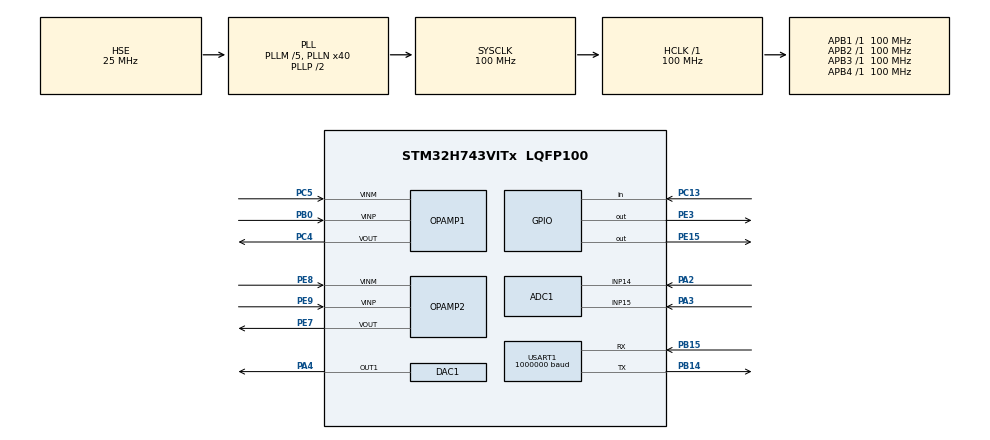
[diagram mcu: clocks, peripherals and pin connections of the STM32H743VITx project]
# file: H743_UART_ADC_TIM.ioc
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ADC1.Channel-7\#ChannelRegularConversion=ADC_CHANNEL_14
ADC1.Channel-8\#ChannelRegularConversion=ADC_CHANNEL_15
ADC1.ContinuousConvMode=DISABLE
ADC1.ConversionDataManagement=ADC_CONVERSIONDATA_DMA_CIRCULAR
ADC1.ExternalTrigConv=ADC_EXTERNALTRIG_T6_TRGO
ADC1.NbrOfConversion=2
ADC1.NbrOfConversionFlag=1
ADC1.OffsetNumber-7\#ChannelRegularConversion=ADC_OFFSET_NONE
ADC1.OffsetNumber-8\#ChannelRegularConversion=ADC_OFFSET_NONE
ADC1.OffsetSignedSaturation-7\#ChannelRegularConversion=DISABLE
ADC1.OffsetSignedSaturation-8\#ChannelRegularConversion=DISABLE
ADC1.Rank-7\#ChannelRegularConversion=1
ADC1.Rank-8\#ChannelRegularConversion=2
ADC1.SamplingTime-7\#ChannelRegularConversion=ADC_SAMPLETIME_1CYCLE_5
ADC1.SamplingTime-8\#ChannelRegularConversion=ADC_SAMPLETIME_1CYCLE_5
ADC1.master=1
DAC1.DAC_Channel-DAC_OUT1=DAC_CHANNEL_1
DAC1.DAC_Trigger-DAC_OUT1=DAC_TRIGGER_T7_TRGO
Dma.ADC1.0.Direction=DMA_PERIPH_TO_MEMORY
Dma.ADC1.0.EventEnable=DISABLE
Dma.ADC1.0.FIFOMode=DMA_FIFOMODE_ENABLE
Dma.ADC1.0.FIFOThreshold=DMA_FIFO_THRESHOLD_HALFFULL
Dma.ADC1.0.Instance=DMA1_Stream0
Dma.ADC1.0.MemBurst=DMA_MBURST_SINGLE
Dma.ADC1.0.MemDataAlignment=DMA_MDATAALIGN_HALFWORD
Dma.ADC1.0.MemInc=DMA_MINC_ENABLE
Dma.ADC1.0.Mode=DMA_CIRCULAR
Dma.ADC1.0.PeriphBurst=DMA_PBURST_SINGLE
Dma.ADC1.0.PeriphDataAlignment=DMA_PDATAALIGN_HALFWORD
Dma.ADC1.0.PeriphInc=DMA_PINC_DISABLE
Dma.ADC1.0.Polarity=HAL_DMAMUX_REQ_GEN_RISING
Dma.ADC1.0.Priority=DMA_PRIORITY_MEDIUM
Dma.ADC1.0.RequestNumber=1
Dma.ADC1.0.SignalID=NONE
Dma.ADC1.0.SyncEnable=DISABLE
Dma.ADC1.0.SyncPolarity=HAL_DMAMUX_SYNC_NO_EVENT
Dma.ADC1.0.SyncRequestNumber=1
Dma.ADC1.0.SyncSignalID=NONE
Dma.DAC1_CH1.1.Direction=DMA_MEMORY_TO_PERIPH
Dma.DAC1_CH1.1.EventEnable=DISABLE
Dma.DAC1_CH1.1.FIFOMode=DMA_FIFOMODE_DISABLE
Dma.DAC1_CH1.1.Instance=DMA1_Stream1
Dma.DAC1_CH1.1.MemDataAlignment=DMA_MDATAALIGN_HALFWORD
Dma.DAC1_CH1.1.MemInc=DMA_MINC_ENABLE
Dma.DAC1_CH1.1.Mode=DMA_CIRCULAR
Dma.DAC1_CH1.1.PeriphDataAlignment=DMA_PDATAALIGN_HALFWORD
Dma.DAC1_CH1.1.PeriphInc=DMA_PINC_DISABLE
Dma.DAC1_CH1.1.Polarity=HAL_DMAMUX_REQ_GEN_RISING
Dma.DAC1_CH1.1.Priority=DMA_PRIORITY_LOW
Dma.DAC1_CH1.1.RequestNumber=1
Dma.DAC1_CH1.1.SignalID=NONE
Dma.DAC1_CH1.1.SyncEnable=DISABLE
Dma.DAC1_CH1.1.SyncPolarity=HAL_DMAMUX_SYNC_NO_EVENT
Dma.DAC1_CH1.1.SyncRequestNumber=1
Dma.DAC1_CH1.1.SyncSignalID=NONE
Dma.Request0=ADC1
Dma.Request1=DAC1_CH1
Mcu.Family=STM32H7
Mcu.Name=STM32H743VITx
Mcu.Package=LQFP100
NVIC.DMA1_Stream0_IRQn=true\:0\:0\:false\:false\:true\:false\:true\:true
NVIC.DMA1_Stream1_IRQn=true\:0\:0\:false\:false\:true\:false\:true\:true
NVIC.PriorityGroup=NVIC_PRIORITYGROUP_4
NVIC.USART1_IRQn=true\:0\:0\:false\:false\:true\:true\:true\:true
PA13\ (JTMS/SWDIO).Mode=Serial_Wire
PA13\ (JTMS/SWDIO).Signal=DEBUG_JTMS-SWDIO
PA14\ (JTCK/SWCLK).Mode=Serial_Wire
PA14\ (JTCK/SWCLK).Signal=DEBUG_JTCK-SWCLK
PA2.Signal=ADCx_INP14
PA3.Signal=ADCx_INP15
PA4.Signal=COMP_DAC11_group
PB0.Signal=SharedAnalog_PB0
PB14.Mode=Asynchronous
PB14.Signal=USART1_TX
PB15.Mode=Asynchronous
PB15.Signal=USART1_RX
PC13.Signal=GPIO_Input
PC4.Signal=SharedAnalog_PC4
PC5.Signal=SharedAnalog_PC5
PE15.Signal=GPIO_Output
PE3.Signal=GPIO_Output
PE7.Signal=SharedAnalog_PE7
PE8.Signal=SharedAnalog_PE8
PE9.Signal=SharedAnalog_PE9
PH0-OSC_IN\ (PH0).Mode=HSE-External-Oscillator
PH0-OSC_IN\ (PH0).Signal=RCC_OSC_IN
PH1-OSC_OUT\ (PH1).Mode=HSE-External-Oscillator
PH1-OSC_OUT\ (PH1).Signal=RCC_OSC_OUT
ProjectManager.HeapSize=0x200
ProjectManager.StackSize=0x400
ProjectManager.TargetToolchain=STM32CubeIDE
RCC.ADCFreq_Value=40000000
RCC.APB1Freq_Value=100000000
RCC.APB2Freq_Value=100000000
RCC.APB3Freq_Value=100000000
RCC.APB4Freq_Value=100000000
RCC.CortexFreq_Value=100000000
RCC.DIVM1=5
RCC.DIVM2=5
RCC.DIVN1=40
RCC.DIVN2=40
RCC.DIVP2=5
RCC.HCLKFreq_Value=100000000
RCC.HSIDiv=RCC_PLLSAIDIVR_2
RCC.PLLSourceVirtual=RCC_PLLSOURCE_HSE
RCC.SYSCLKFreq_VALUE=100000000
RCC.SYSCLKSource=RCC_SYSCLKSOURCE_PLLCLK
RCC.USART16CLockSelection=RCC_USART16CLKSOURCE_HSI
RCC.USBFreq_Value=100000000
SH.ADCx_INP14.0=ADC1_INP14,IN14-Single-Ended
SH.ADCx_INP15.0=ADC1_INP15,IN15-Single-Ended
SH.COMP_DAC11_group.0=DAC1_OUT1,DAC_OUT1
SH.SharedAnalog_PB0.0=GPIO_Analog
SH.SharedAnalog_PB0.1=OPAMP1_VINP,PGA Connected-INVERTINGINPUT_IO0_BIAS
SH.SharedAnalog_PC4.0=GPIO_Analog
SH.SharedAnalog_PC4.1=OPAMP1_VOUT,PGA Connected-INVERTINGINPUT_IO0_BIAS
SH.SharedAnalog_PC5.0=GPIO_Analog
SH.SharedAnalog_PC5.1=OPAMP1_VINM,PGA Connected-INVERTINGINPUT_IO0_BIAS
SH.SharedAnalog_PE7.0=GPIO_Analog
SH.SharedAnalog_PE7.1=OPAMP2_VOUT,PGA Connected-INVERTINGINPUT_IO0_BIAS
SH.SharedAnalog_PE8.0=GPIO_Analog
SH.SharedAnalog_PE8.1=OPAMP2_VINM,PGA Connected-INVERTINGINPUT_IO0_BIAS
SH.SharedAnalog_PE9.0=GPIO_Analog
SH.SharedAnalog_PE9.1=OPAMP2_VINP,PGA Connected-INVERTINGINPUT_IO0_BIAS
TIM6.Period=499
TIM6.Prescaler=9
TIM6.TIM_MasterOutputTrigger=TIM_TRGO_UPDATE
TIM7.Period=9999
TIM7.Prescaler=9999
TIM7.TIM_MasterOutputTrigger=TIM_TRGO_UPDATE
USART1.BaudRate=1000000
USART1.VirtualMode-Asynchronous=VM_ASYNC
VP_TIM6_VS_ClockSourceINT.Mode=Enable_Timer
VP_TIM7_VS_ClockSourceINT.Mode=Enable_Timer
board=custom

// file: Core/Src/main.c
/* USER CODE BEGIN Header */
/**
  ******************************************************************************
  * @file           : main.c
  * @brief          : Main program body
  ******************************************************************************
  * @attention
  *
  * Copyright (c) 2026 STMicroelectronics.
  * All rights reserved.
  *
  * This software is licensed under terms that can be found in the LICENSE file
  * in the root directory of this software component.
  * If no LICENSE file comes with this software, it is provided AS-IS.
  *
  ******************************************************************************
  */
/* USER CODE END Header */
#include "main.h"
#include "adc.h"
#include "dac.h"
#include "dma.h"
#include "opamp.h"
#include "tim.h"
#include "usart.h"
#include "gpio.h"

/* USER CODE BEGIN Includes */
#include "stdbool.h"

/* USER CODE END Includes */

/* USER CODE BEGIN PD */
#define PACKET_PREAMBLE  0x24
#define PACKET_TERMINATOR 0x0A
#define PACKET_SIZE 4
#define DAC_BUFFER_SIZE 256
/* USER CODE END PD */

/* USER CODE BEGIN PV */
uint64_t last_time = 0;

volatile uint8_t uart_tx_complete = 1;

volatile uint16_t adc_value[2];
uint8_t tx_buffer_adc[7];
bool adc_ready = false;
bool led_flag = false;

uint8_t tx_buffer[] = {0x01,0x02};
uint8_t tx_buffer2[] = {0x03,0x04};
uint8_t tx_combined[sizeof(tx_buffer) + sizeof(tx_buffer2) + 2];

uint8_t rx_buffer[PACKET_SIZE];
uint8_t rx_index = 0;
volatile uint8_t packet_ready = 0;
volatile uint8_t received_key = 0;    // Ключ (команда)
volatile uint8_t received_data = 0;
volatile uint8_t received_byte = 0;
volatile uint8_t synced = 0;  // Флаг синхронизации
uint32_t last_byte_time = 0;

typedef enum {
    WAIT_PREAMBLE,      // Ждем 0x24
    WAIT_KEY,           // Ждем ключ (0x01 или 0x02)
    WAIT_DATA,          // Ждем данные (значение)
    WAIT_TERMINATOR     // Ждем 0x0A
} UART_State_t;

uint32_t DAC_in;
uint32_t SawDac;
float SawAmpVol = 1.5;
float OffsetVol = 1.0;
uint32_t SawPeriodMs;    // Период пилы в милли секундах
uint32_t SawAmpDac;
uint32_t OffsetDac;
volatile uint16_t dac_buffer[DAC_BUFFER_SIZE];

uint8_t button_state = 0;
uint8_t button_pressed = 0;
uint32_t T = 0;
uint8_t radar_module_state = 0;

/* USER CODE END PV */

void SystemClock_Config(void);
/* USER CODE BEGIN PFP */
void HAL_UART_TxCpltCallback(UART_HandleTypeDef *huart)
{
    if (huart->Instance == USART1) {
    	uart_tx_complete = 1;
    }
}

UART_State_t uart_state = WAIT_PREAMBLE;

void HAL_UART_RxCpltCallback(UART_HandleTypeDef *huart)
{
    if(huart == &huart1)
    {
    	 // Проверяем наличие ошибок
    	        if (__HAL_UART_GET_FLAG(huart, UART_FLAG_ORE)) {
    	            __HAL_UART_CLEAR_FLAG(huart, UART_FLAG_ORE);

    	            uart_state = WAIT_PREAMBLE;
    	            HAL_UART_Receive_IT(&huart1, &received_byte, 1);
    	            return;
    	        }

    	        if (__HAL_UART_GET_FLAG(huart, UART_FLAG_FE)) {
    	            __HAL_UART_CLEAR_FLAG(huart, UART_FLAG_FE);
    	            uart_state = WAIT_PREAMBLE;
    	            HAL_UART_Receive_IT(&huart1, &received_byte, 1);
    	            return;
    	        }

    	        if (__HAL_UART_GET_FLAG(huart, UART_FLAG_NE)) {
    	            __HAL_UART_CLEAR_FLAG(huart, UART_FLAG_NE);
    	            uart_state = WAIT_PREAMBLE;
    	            HAL_UART_Receive_IT(&huart1, &received_byte, 1);
    	            return;
    	        }

        last_byte_time = HAL_GetTick();

        switch (uart_state) {
                    case WAIT_PREAMBLE:
                        if (received_byte == PACKET_PREAMBLE) {
                            uart_state = WAIT_KEY;
                        }
                        break;

                    case WAIT_KEY:
                        // Проверяем, что ключ валидный (0x01 или 0x02)
                        if (received_byte == 0x01 || received_byte == 0x02) {
                            received_key = received_byte;
                            uart_state = WAIT_DATA;
                        } else {
                            // Неверный ключ - сброс
                            uart_state = WAIT_PREAMBLE;
                        }
                        break;

                    case WAIT_DATA:
                        received_data = received_byte;
                        uart_state = WAIT_TERMINATOR;
                        break;

                    case WAIT_TERMINATOR:
                        if (received_byte == PACKET_TERMINATOR) {
                            packet_ready = 1;  // Пакет принят корректно
                        } else {
                            // Неправильный терминатор - отладочный вывод
                            char dbg[32];
                            sprintf(dbg, "Bad term: 0x%02X\r\n", received_byte);
                            HAL_UART_Transmit(&huart1, (uint8_t*)dbg, strlen(dbg), 100);
                        }
                        uart_state = WAIT_PREAMBLE;  // Сброс для следующего пакета
                        break;
                }

        HAL_UART_Receive_IT(&huart1, &received_byte, 1);
    }
}

void HAL_ADC_ConvCpltCallback(ADC_HandleTypeDef* hadc)
{
    if (hadc->Instance == ADC1) {
        adc_ready = true;  // Сигнал, что еcть новые данные
        led_flag = !led_flag;
//        HAL_GPIO_WritePin(GPIOE, GPIO_PIN_3, led_flag);

    }
}

void CheckUARTTimeout(void)
{
    if (uart_state != WAIT_PREAMBLE && (HAL_GetTick() - last_byte_time > 50)) {
        uart_state = WAIT_PREAMBLE;  // Таймаут
    }
}

void CalculateSawtoothBuffer(void);
void UpdateSawtooth(float , float , float );
/* USER CODE END PFP */

int main(void)
{

  /* MCU Configuration--------------------------------------------------------*/

  /* Reset of all peripherals, Initializes the Flash interface and the Systick. */
  HAL_Init();

  /* Configure the system clock */
  SystemClock_Config();

  /* Initialize all configured peripherals */
  MX_GPIO_Init();
  MX_DMA_Init();
  MX_USART1_UART_Init();
  MX_ADC1_Init();
  MX_TIM6_Init();
  MX_OPAMP1_Init();
  MX_DAC1_Init();
  MX_TIM7_Init();
  MX_OPAMP2_Init();
  /* USER CODE BEGIN 2 */
  HAL_ADCEx_Calibration_Start(&hadc1, ADC_CALIB_OFFSET_LINEARITY, ADC_SINGLE_ENDED);
  HAL_ADC_Start_DMA(&hadc1, (uint32_t*)adc_value, 2);
  HAL_TIM_Base_Start(&htim6);

  HAL_OPAMP_Stop(&hopamp1);                    // Останавливаем если был запущен
  hopamp1.Init.PgaGain = OPAMP_PGA_GAIN_16_OR_MINUS_15;  // Устанавливаем усиление
  if (HAL_OPAMP_Init(&hopamp1) != HAL_OK)      // Инициализируем  новыми параметрами
  {
      Error_Handler();
  }
  HAL_OPAMP_Start(&hopamp1);                   // Запускаем OPAMP

//------------------------------------------------------------------
  HAL_OPAMP_Stop(&hopamp2);                    // Останавливаем если был запущен
  hopamp2.Init.PgaGain = OPAMP_PGA_GAIN_16_OR_MINUS_15;  // Устанавливаем усиление
  if (HAL_OPAMP_Init(&hopamp2) != HAL_OK)      // Инициализируем новыми параметрами
  {
      Error_Handler();
  }
  HAL_OPAMP_Start(&hopamp2);                   // Запускаем OPAMP
  tx_buffer_adc[6] = 0x0A; // Терминатор
  HAL_UART_Receive_IT(&huart1, &received_byte, 1);

  DAC_in = 0;
  SawDac = 0;
  CalculateSawtoothBuffer();
  UpdateSawtooth(3.0,0.0,50);
//  HAL_DAC_Start_DMA(&hdac1, DAC_CHANNEL_1,(uint32_t*)dac_buffer,DAC_BUFFER_SIZE,DAC_ALIGN_12B_R);
  HAL_DAC_Stop_DMA(&hdac1, DAC_CHANNEL_1);
//  HAL_TIM_Base_Start(&htim7);
  HAL_TIM_Base_Stop(&htim7);
//  HAL_ADCEx_Calibration_Start(&hadc2, ADC_CALIB_OFFSET_LINEARITY, ADC_SINGLE_ENDED);

  HAL_GPIO_WritePin(GPIOE, GPIO_PIN_15, 0);
  /* USER CODE END 2 */

  /* Infinite loop */
  while (1)
  {

    /* USER CODE BEGIN 3 */

		  if (adc_ready){
			  adc_ready = false;
              // Копируем данные  с выключенными прерываниями
              __disable_irq();
              uint16_t val1 = adc_value[0];
              uint16_t val2 = adc_value[1];
              __enable_irq();

              // Упаковываем в 4 байта
              tx_buffer_adc[0] = (val1 >> 8) & 0xFF;  // старший байт канала 1
              tx_buffer_adc[1] = val1 & 0xFF;         // младший байт канала 1
              tx_buffer_adc[2] = (val2 >> 8) & 0xFF;  // старший байт канала 2
              tx_buffer_adc[3] = val2 & 0xFF;         // младший байт канала 2

              uint32_t current_gain_setting = hopamp2.Init.PgaGain;
              switch (current_gain_setting){
		  		 	 case OPAMP_PGA_GAIN_2_OR_MINUS_1:
		            	 tx_buffer_adc[4] = 0x02;
		  		 		 break;
		  		 	 case OPAMP_PGA_GAIN_4_OR_MINUS_3:
		            	 tx_buffer_adc[4] = 0x04;
		  		 		 break;
		  		 	 case OPAMP_PGA_GAIN_8_OR_MINUS_7:
		            	 tx_buffer_adc[4] = 0x08;
		  		 		 break;
		  		 	 case OPAMP_PGA_GAIN_16_OR_MINUS_15:
		            	 tx_buffer_adc[4] = 0x10;
		  		 		 break;
		  		 	 default:
		  		 		 break;
              }

              uint32_t pin_state = (GPIOE->ODR & GPIO_PIN_15) ? 1 : 0;
              if(pin_state){
	            	 tx_buffer_adc[5] = 0x01;
              }else{
            	  	 tx_buffer_adc[5] = 0x00;
              }

              // Отправляем, если UART свободен
              if (uart_tx_complete) {
                 uart_tx_complete = 0;
                 HAL_UART_Transmit_IT(&huart1, tx_buffer_adc, 7);
             }
		  }

		  if(packet_ready){
		  		  packet_ready = 0;

		  	    switch (received_key) {
		  	        case 0x01:  // Команда для radar_module
				  		HAL_GPIO_WritePin(GPIOE, GPIO_PIN_15, received_data);
				  		if(received_data == 0x01){
				  			  HAL_TIM_Base_Start(&htim7);  // Таймер начинает генерировать триггеры
						  	  HAL_DAC_Start_DMA(&hdac1, DAC_CHANNEL_1,(uint32_t*)dac_buffer,DAC_BUFFER_SIZE,DAC_ALIGN_12B_R);
				  		}else
				  			if(received_data == 0x00){
				  				HAL_DAC_Stop_DMA(&hdac1, DAC_CHANNEL_1);
				  		        HAL_TIM_Base_Stop(&htim7);
				  			}

		  	            break;

		  	        case 0x02:  // Команда для OpAmp
		  	        	switch (received_data){
		  	        			  		 	 case 0x02:
		  	        			  		 		 HAL_OPAMP_Stop(&hopamp1);
		  	        			  		 		 HAL_OPAMP_Stop(&hopamp2);
		  	        			  		 		 hopamp1.Init.PgaGain = OPAMP_PGA_GAIN_2_OR_MINUS_1;
		  	        			  		 		 hopamp2.Init.PgaGain = OPAMP_PGA_GAIN_2_OR_MINUS_1;
		  	        			  		 		 break;
		  	        			  		 	 case 0x04:
		  	        			  		 		 HAL_OPAMP_Stop(&hopamp1);
		  	        			  		 		 HAL_OPAMP_Stop(&hopamp2);
		  	        			  		 		 hopamp1.Init.PgaGain = OPAMP_PGA_GAIN_4_OR_MINUS_3;
		  	        			  		 		 hopamp2.Init.PgaGain = OPAMP_PGA_GAIN_4_OR_MINUS_3;

		  	        			  		 		 break;
		  	        			  		 	 case 0x08:
		  	        			  		 		 HAL_OPAMP_Stop(&hopamp1);
		  	        			  		 		 HAL_OPAMP_Stop(&hopamp2);
		  	        			  		 		 hopamp1.Init.PgaGain = OPAMP_PGA_GAIN_8_OR_MINUS_7;
		  	        			  		 		 hopamp2.Init.PgaGain = OPAMP_PGA_GAIN_8_OR_MINUS_7;
		  	        			  		 		 break;
		  	        			  		 	 case 0x10:
		  	        			  		 		 HAL_OPAMP_Stop(&hopamp1);
		  	        			  		 		 HAL_OPAMP_Stop(&hopamp2);
		  	        			  		 		 hopamp1.Init.PgaGain = OPAMP_PGA_GAIN_16_OR_MINUS_15;
		  	        			  		 		 hopamp2.Init.PgaGain = OPAMP_PGA_GAIN_16_OR_MINUS_15;
		  	        			  		 		 break;
		  	        			  		 	 default:
		  	        			  		 		 HAL_OPAMP_Stop(&hopamp1);
		  	        			  		 		 HAL_OPAMP_Stop(&hopamp2);
		  	        			  		 		 hopamp1.Init.PgaGain = OPAMP_PGA_GAIN_16_OR_MINUS_15;
		  	        			  		 		 hopamp2.Init.PgaGain = OPAMP_PGA_GAIN_16_OR_MINUS_15;
		  	        			  		 		 break;
		  	        			  		 }
		  	        			         if (HAL_OPAMP_Init(&hopamp1) != HAL_OK) {
		  	        			             Error_Handler();
		  	        			         }
		  	        			         if (HAL_OPAMP_Init(&hopamp2) != HAL_OK) {
		  	        			             Error_Handler();
		  	        			         }
		  	        			  		 HAL_OPAMP_Start(&hopamp1);                   // Запускаем OPAMP
		  	        			  		 HAL_OPAMP_Start(&hopamp2);		  	            break;

		  	        default:
		  	            // Неизвестный ключ (не должно случиться, но на всякий случай)
		  	            break;
		  	    }
//		  	 	  HAL_UART_Transmit_IT(&huart1,  (uint8_t *)received_data, 1);
//		  	 if (received_data == 0x01) {
//		  		 HAL_GPIO_WritePin(GPIOE, GPIO_PIN_3, GPIO_PIN_SET);
//		  	 } else if (received_data == 0x00) {
//		  	     HAL_GPIO_WritePin(GPIOE, GPIO_PIN_3, GPIO_PIN_RESET);
//		  	 }
		  }

		  CheckUARTTimeout();

		  button_state = (HAL_GPIO_ReadPin(GPIOC, GPIO_PIN_13));
		  	  if(button_state && !button_pressed && HAL_GetTick() - T >= 50){
		  		  T = HAL_GetTick();
		  		  button_pressed =1;
		  		  radar_module_state = !radar_module_state;
		  		  HAL_GPIO_WritePin(GPIOE, GPIO_PIN_15, radar_module_state);
		  	  }else if(!button_state && button_pressed && HAL_GetTick() - T >= 50){
		  		  T = HAL_GetTick();
		  		  button_pressed =0;
		  	  }
  }
  /* USER CODE END 3 */
}

void SystemClock_Config(void)
{
  RCC_OscInitTypeDef RCC_OscInitStruct = {0};
  RCC_ClkInitTypeDef RCC_ClkInitStruct = {0};

  /** Supply configuration update enable
  */
  HAL_PWREx_ConfigSupply(PWR_LDO_SUPPLY);

  /** Configure the main internal regulator output voltage
  */
  __HAL_PWR_VOLTAGESCALING_CONFIG(PWR_REGULATOR_VOLTAGE_SCALE3);

  while(!__HAL_PWR_GET_FLAG(PWR_FLAG_VOSRDY)) {}

  /** Macro to configure the PLL clock source
  */
  __HAL_RCC_PLL_PLLSOURCE_CONFIG(RCC_PLLSOURCE_HSE);

  /** Initializes the RCC Oscillators according to the specified parameters
  * in the RCC_OscInitTypeDef structure.
  */
  RCC_OscInitStruct.OscillatorType = RCC_OSCILLATORTYPE_HSI|RCC_OSCILLATORTYPE_HSE;
  RCC_OscInitStruct.HSEState = RCC_HSE_ON;
  RCC_OscInitStruct.HSIState = RCC_HSI_DIV2;
  RCC_OscInitStruct.HSICalibrationValue = RCC_HSICALIBRATION_DEFAULT;
  RCC_OscInitStruct.PLL.PLLState = RCC_PLL_ON;
  RCC_OscInitStruct.PLL.PLLSource = RCC_PLLSOURCE_HSE;
  RCC_OscInitStruct.PLL.PLLM = 5;
  RCC_OscInitStruct.PLL.PLLN = 40;
  RCC_OscInitStruct.PLL.PLLP = 2;
  RCC_OscInitStruct.PLL.PLLQ = 2;
  RCC_OscInitStruct.PLL.PLLR = 2;
  RCC_OscInitStruct.PLL.PLLRGE = RCC_PLL1VCIRANGE_2;
  RCC_OscInitStruct.PLL.PLLVCOSEL = RCC_PLL1VCOWIDE;
  RCC_OscInitStruct.PLL.PLLFRACN = 0;
  if (HAL_RCC_OscConfig(&RCC_OscInitStruct) != HAL_OK)
  {
    Error_Handler();
  }

  /** Initializes the CPU, AHB and APB buses clocks
  */
  RCC_ClkInitStruct.ClockType = RCC_CLOCKTYPE_HCLK|RCC_CLOCKTYPE_SYSCLK
                              |RCC_CLOCKTYPE_PCLK1|RCC_CLOCKTYPE_PCLK2
                              |RCC_CLOCKTYPE_D3PCLK1|RCC_CLOCKTYPE_D1PCLK1;
  RCC_ClkInitStruct.SYSCLKSource = RCC_SYSCLKSOURCE_PLLCLK;
  RCC_ClkInitStruct.SYSCLKDivider = RCC_SYSCLK_DIV1;
  RCC_ClkInitStruct.AHBCLKDivider = RCC_HCLK_DIV1;
  RCC_ClkInitStruct.APB3CLKDivider = RCC_APB3_DIV1;
  RCC_ClkInitStruct.APB1CLKDivider = RCC_APB1_DIV1;
  RCC_ClkInitStruct.APB2CLKDivider = RCC_APB2_DIV1;
  RCC_ClkInitStruct.APB4CLKDivider = RCC_APB4_DIV1;

  if (HAL_RCC_ClockConfig(&RCC_ClkInitStruct, FLASH_LATENCY_2) != HAL_OK)
  {
    Error_Handler();
  }
}

/* USER CODE BEGIN 4 */
void CalculateSawtoothBuffer(void)
{
    for (int i = 0; i < DAC_BUFFER_SIZE; i++) {
        // Линейное нарастание от 0 до SawAmpDac
        uint32_t value = (i * SawAmpDac) / (DAC_BUFFER_SIZE - 1);
        value += OffsetDac;

        // Ограничение
        if (value > 4095) value = 4095;
        if (value < 0) value = 0;

        dac_buffer[i] = (uint16_t)value;
    }
}

// Функция обновления параметров пилы
void UpdateSawtooth(float amplitude_volts, float offset_volts, float period_ms)
{
    // Конвертация вольт в коды DAC (Vref = 3.3V)
    SawAmpDac = (uint32_t)(amplitude_volts * 4095.0f / 3.3f);
    OffsetDac = (uint32_t)(offset_volts * 4095.0f / 3.3f);
    SawPeriodMs = (uint32_t)period_ms;

    // Пересчитать частоту таймера
    // Частота DAC обновлении = DAC_BUFFER_SIZE / (period_ms / 1000)
    uint32_t dac_freq_hz = (DAC_BUFFER_SIZE * 1000) / SawPeriodMs;

    // Настройка таймера (TIM7) для  нужной частоты
    // При APB1 = 100 МГц
    uint32_t timer_clock = 100000000;  // 100 МГц
    uint32_t prescaler = 0;
    uint32_t period = 0;

    // Подбор делителей
    uint32_t total_divider = timer_clock / dac_freq_hz;

    // Если делитель небольшой, то prescaler = 0
    if (total_divider <= 65536) {
        prescaler = 0;
        period = total_divider - 1;
    }
    // Если делитель больше 65536, нужно использовать prescaler
    else {
        // Ищем prescaler такой, чтобы period не превышал 65535
        prescaler = total_divider / 65536;
        period = (total_divider / (prescaler + 1)) - 1;
    }
    __HAL_TIM_SET_PRESCALER(&htim7, prescaler);
    __HAL_TIM_SET_AUTORELOAD(&htim7, period);

    // Пересчитать буфер
    CalculateSawtoothBuffer();
}
/* USER CODE END 4 */

void Error_Handler(void)
{
  __disable_irq();
  while (1)
  {
  }
}
